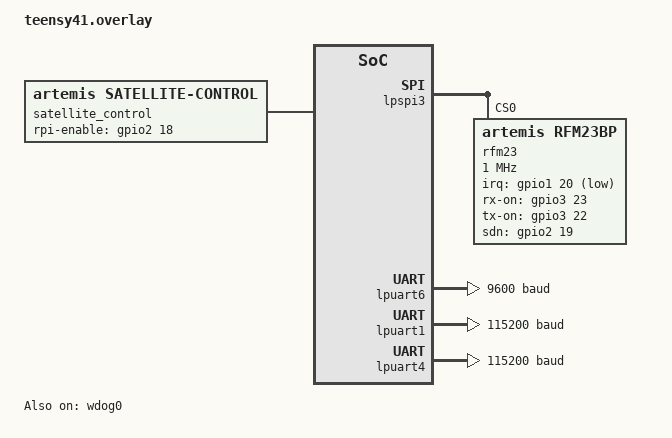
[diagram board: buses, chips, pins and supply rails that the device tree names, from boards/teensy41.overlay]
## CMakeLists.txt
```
cmake_minimum_required(VERSION 3.24.2)
find_package(Zephyr REQUIRED HINTS $ENV{ZEPHYR_BASE})
project(satellite_teensy41_controller C CXX)

target_include_directories(app PRIVATE include ../include)
target_sources(app PRIVATE
    src/main.cpp
    src/ControllerApp.cpp
    src/ControllerStorage.cpp
    src/Rfm23Zephyr.cpp
    src/ZephyrAdapters.cpp
    src/ZephyrUart.cpp
    src/ZephyrWatchdog.cpp
    ../src/LocalServices.cpp
    ../src/Protocol.cpp
    ../src/RuntimeBridge.cpp
    ../src/RadioStateMachine.cpp
)
```

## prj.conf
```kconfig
CONFIG_CPP=y
CONFIG_STD_CPP17=y
CONFIG_CPP_EXCEPTIONS=n
CONFIG_CPP_RTTI=n
CONFIG_REQUIRES_FULL_LIBCPP=y
CONFIG_GLIBCXX_LIBCPP=y
CONFIG_ASSERT=y

CONFIG_GPIO=y
CONFIG_SPI=y
CONFIG_SERIAL=y
CONFIG_UART_INTERRUPT_DRIVEN=y
CONFIG_PINCTRL=y
CONFIG_RING_BUFFER=y
CONFIG_WATCHDOG=y
CONFIG_HWINFO=y
CONFIG_REBOOT=y
CONFIG_FILE_SYSTEM=y

# Static thread stacks/queues only. The final F' topology must size these from
# its actual thread count and map output; nominal controller logic does not
# allocate from the heap after startup.
CONFIG_DYNAMIC_THREAD=y
CONFIG_DYNAMIC_THREAD_ALLOC=n
CONFIG_DYNAMIC_THREAD_PREFER_POOL=y
CONFIG_DYNAMIC_THREAD_STACK_SIZE=4096
CONFIG_DYNAMIC_THREAD_POOL_SIZE=6
CONFIG_MAIN_STACK_SIZE=4096
CONFIG_THREAD_STACK_INFO=y
CONFIG_KERNEL_MEM_POOL=y
CONFIG_COMMON_LIBC_MALLOC=y
CONFIG_NEWLIB_LIBC=y

CONFIG_BUILD_OUTPUT_HEX=y
CONFIG_SIZE_OPTIMIZATIONS=y
```

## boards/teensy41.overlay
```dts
/*
 * Satellite Teensy 4.1 wiring. Pin mappings are the Zephyr Teensy LPSPI3
 * pinctrl mapping plus the RT1062 GPIO pads used by the Arduino oracle.
 */
&lpspi3 {
    status = "okay";

    rfm23: rfm23@0 {
        compatible = "artemis,rfm23bp";
        reg = <0>;
        spi-max-frequency = <1000000>;
        irq-gpios = <&gpio1 20 GPIO_ACTIVE_LOW>; /* Teensy pin 40 */
        rx-on-gpios = <&gpio3 23 GPIO_ACTIVE_HIGH>; /* pin 30 */
        tx-on-gpios = <&gpio3 22 GPIO_ACTIVE_HIGH>; /* pin 31 */
        sdn-gpios = <&gpio2 19 GPIO_ACTIVE_HIGH>; /* pin 37 */
    };
};

&lpuart6 {
    status = "okay";
    current-speed = <9600>; /* PDU Serial1, Teensy pins 0/1 */
};

&lpuart1 {
    status = "okay";
    current-speed = <115200>; /* dedicated Zephyr debug console */
};

&lpuart4 {
    status = "okay";
    current-speed = <115200>; /* Pi Serial2, Teensy pins 7/8 */
};

&wdog0 {
    status = "okay"; /* RT1062 WDOG1, matching the Arduino 12 s reset contract */
};

/ {
    chosen {
        /* RT1062 OCRAM2 is the supported 512 KiB general SRAM region in the
         * current board model. DTCM and ITCM remain separate 128 KiB regions;
         * they are not falsely modeled as one contiguous 1 MiB heap. */
        zephyr,sram = &ocram2;
        zephyr,dtcm = &dtcm;
        zephyr,itcm = &itcm;
        zephyr,console = &lpuart1;
        zephyr,shell-uart = &lpuart1;
    };

    satellite_control {
        compatible = "artemis,satellite-control";
        rpi-enable-gpios = <&gpio2 18 GPIO_ACTIVE_HIGH>; /* pin 36 */
    };
};
```

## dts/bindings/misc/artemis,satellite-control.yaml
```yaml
description: Artemis satellite controller board-level control pins
compatible: "artemis,satellite-control"
properties:
  rpi-enable-gpios:
    type: phandle-array
    required: true
```

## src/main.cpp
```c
#include "SatelliteController/ControllerApp.hpp"

#include <zephyr/kernel.h>
#include <zephyr/sys/printk.h>

int main() {
    if (!SatelliteController::controllerAppInitialize()) {
        printk("satellite controller initialization failed; radio remains safe-off\n");
    }
    while (true) {
        SatelliteController::controllerAppPoll(k_uptime_get_32());
        k_sleep(K_MSEC(1));
    }
    return 0;
}
```

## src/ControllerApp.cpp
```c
#include "SatelliteController/ControllerApp.hpp"

#include <zephyr/devicetree.h>
#include <zephyr/drivers/gpio.h>
#include <zephyr/sys/printk.h>

namespace SatelliteController {
namespace {
const gpio_dt_spec RPI_ENABLE = GPIO_DT_SPEC_GET(DT_PATH(satellite_control), rpi_enable_gpios);
}

ControllerApp::ControllerApp()
    : m_radio(),
      m_piUart(DEVICE_DT_GET(DT_NODELABEL(lpuart4)), controllerPiRxStorage(), controllerPiRxStorageSize()),
      m_pduUart(DEVICE_DT_GET(DT_NODELABEL(lpuart6)), controllerPduRxStorage(), controllerPduRxStorageSize()),
      m_pduTransport(m_pduUart),
      m_rfStatus(m_radio),
      m_pduProxy(m_pduTransport),
      m_payloadCache(),
      m_preview(),
      m_localRouter(m_rfStatus, m_pduProxy, m_payloadCache, m_preview),
      m_bridge(RuntimeBridge::Callbacks{this, uartWrite, rfSend, localHandler, rfMessageHandler,
                                        rfCompletionHandler, clockNow}),
      m_watchdog() {}

bool ControllerApp::initialize() {
    if (m_initialized) return true;
    const auto safeOff = m_radio.configureSafeOff();
    const bool rpiReady = gpio_is_ready_dt(&RPI_ENABLE) &&
                          gpio_pin_configure_dt(&RPI_ENABLE, GPIO_OUTPUT_ACTIVE) == 0;
    const bool piUartReady = m_piUart.initialize();
    const bool pduUartReady = m_pduUart.initialize();
    const bool watchdogReady = m_watchdog.initialize(WatchdogModel::TIMEOUT_MS);
    m_rfStatus.setBootWatchdogReset(m_watchdog.watchdogReset());
    m_bridge.setRfEnabled(false);
    m_initialized = safeOff == Rfm23Zephyr::Result::OK && rpiReady && piUartReady &&
                    pduUartReady && watchdogReady;
    printk("satellite controller safe-off=%d rpi=%d pi-uart=%d pdu-uart=%d wdt=%d reset-wdt=%d\n",
           static_cast<int>(safeOff), rpiReady, piUartReady, pduUartReady,
           watchdogReady, m_watchdog.watchdogReset());
    return m_initialized;
}

bool ControllerApp::uartWrite(void* context, const std::uint8_t* bytes, std::size_t length) {
    auto* self = static_cast<ControllerApp*>(context);
    return self != nullptr && self->m_piUart.write(bytes, length);
}

bool ControllerApp::rfSend(void* context, const std::uint8_t* bytes, std::size_t length) {
    auto* self = static_cast<ControllerApp*>(context);
    const bool canonicalAck = length == Protocol::RF_SEGMENT_HEADER_LEN &&
                              bytes != nullptr && bytes[2] == Protocol::RF_ACK_INDEX &&
                              bytes[4] == 0;
    if (self == nullptr || !self->m_radio.ready()) {
        if (self != nullptr && !canonicalAck) self->m_rfStatus.noteTransmitResult(false);
        return false;
    }
    Rfm23Zephyr::Result result = self->m_radio.sendPacket(bytes, length);
    // Match the Arduino bridge: retry exactly once only after the low-level
    // timeout path has cleared both FIFOs and restored RX. Start failures are
    // terminal because no completed recovery is known to have occurred.
    if (result == Rfm23Zephyr::Result::TX_TIMEOUT) {
        (void)self->m_watchdog.feed();
        result = self->m_radio.sendPacket(bytes, length);
    }
    if (result != Rfm23Zephyr::Result::OK) self->m_radio.failSafeOffLocalTx();
    if (!canonicalAck) self->m_rfStatus.noteTransmitResult(result == Rfm23Zephyr::Result::OK);
    return result == Rfm23Zephyr::Result::OK;
}

bool ControllerApp::localHandler(void* context, const Frame& request, Frame& response) {
    auto* self = static_cast<ControllerApp*>(context);
    return self != nullptr && self->routeLocal(request, response, self->m_callbackNowMs);
}

bool ControllerApp::rfMessageHandler(void* context, const Frame& message) {
    auto* self = static_cast<ControllerApp*>(context);
    return self != nullptr && message.channel == Protocol::CHANNEL_PAYLOAD &&
           self->m_payloadCache.handlePayloadControl(message.payload.data(), message.length);
}

void ControllerApp::rfCompletionHandler(void* context, RuntimeBridge::TxTag tag, bool sent) {
    auto* self = static_cast<ControllerApp*>(context);
    if (self == nullptr) return;
    if (tag == RuntimeBridge::TxTag::PAYLOAD_CACHE) self->m_payloadCache.payloadPacketSent(sent);
    else if (tag == RuntimeBridge::TxTag::PREVIEW) self->m_preview.previewPacketAttempted(sent);
}

std::uint32_t ControllerApp::clockNow(void*) { return k_uptime_get_32(); }

bool ControllerApp::routeLocal(const Frame& request, Frame& response, std::uint32_t nowMs) {
    if (!m_localRouter.beginLocalFrame(request.payload.data(), request.length, nowMs)) return false;
    std::size_t length = 0;
    if (!m_localRouter.pollLocalResponse(nowMs, response.payload.data(), response.payload.size(), length)) return false;
    response.channel = Protocol::CHANNEL_LOCAL;
    response.length = static_cast<std::uint16_t>(length);
    return length != 0;
}

void ControllerApp::drainPiUart(std::uint32_t nowMs) {
    std::uint8_t byte = 0;
    m_callbackNowMs = nowMs;
    while (m_piUart.readByte(byte)) {
        if (m_bridge.ingestUartByte(byte, nowMs) == ParseResult::FRAME) ++m_uartFramesReceived;
        // A completed channel-2 request can change radio readiness. Apply it
        // before the next framed channel in the same UART burst is routed.
        syncRadioState();
    }
}

void ControllerApp::serviceRadio(std::uint32_t nowMs) {
    // serviceInterrupt owns the atomic consume; checking irqPending here would
    // clear the work signal before the driver can read the status registers.
    (void)m_radio.serviceInterrupt();
    std::uint8_t packet[Protocol::RF_PACKET_MAX_LEN]{};
    std::size_t length = 0;
    while (m_radio.available()) {
        if (m_radio.receivePacket(packet, sizeof(packet), length) != Rfm23Zephyr::Result::OK) break;
        const Rfm23Zephyr::Header& header = m_radio.lastReceivedHeader();
        switch (classifyRfHeader(header.to, header.from, header.id, header.flags)) {
            case RfHeaderStatus::ACCEPT:
                m_radio.markLastPacketAccepted();
                if (m_bridge.ingestRfPacket(packet, length, nowMs) != RuntimeBridge::RfResult::ACK) {
                    m_rfStatus.noteAcceptedPacket();
                }
                break;
            case RfHeaderStatus::WRONG_NETWORK: ++m_wrongNetworkDrops; break;
            case RfHeaderStatus::WRONG_ADDRESS: ++m_wrongAddressDrops; break;
            case RfHeaderStatus::WRONG_VERSION: ++m_wrongVersionDrops; break;
        }
    }
}

void ControllerApp::serviceLocalResponses(std::uint32_t nowMs) {
    std::uint8_t response[Protocol::FRAME_MAX_PAYLOAD]{};
    std::size_t length = 0;
    if (m_localRouter.pollLocalResponse(nowMs, response, sizeof(response), length)) {
        (void)m_bridge.queueLocalResponse(response, length);
    }
}

void ControllerApp::serviceGeneratedPayload() {
    if (!m_radio.ready() || m_bridge.pendingRfMessages() != 0) return;
    std::uint8_t payload[Protocol::FRAME_MAX_PAYLOAD]{};
    std::size_t length = 0;
    if (m_payloadCache.nextPayloadPacket(payload, sizeof(payload), length)) {
        const bool queued = m_bridge.queueRfMessage(Protocol::CHANNEL_PAYLOAD, payload, length,
                                                     RuntimeBridge::TxTag::PAYLOAD_CACHE);
        if (!queued) m_payloadCache.payloadPacketSent(false);
        return;
    }
    if (m_preview.nextPreviewPacket(payload, Protocol::RF_SEGMENT_MAX_DATA, length)) {
        const bool queued = m_bridge.queueRfMessage(Protocol::CHANNEL_PAYLOAD, payload, length,
                                                     RuntimeBridge::TxTag::PREVIEW);
        if (!queued) m_preview.previewPacketAttempted(false);
    }
}

void ControllerApp::syncRadioState() {
    const bool ready = m_radio.ready();
    if (m_radioWasReady && !ready) {
        // Arduino counts every queued uplink discarded by a radio-off
        // transition as a TX drop. Completion callbacks still unwind any
        // cache/preview producer state inside discardRadioWork().
        m_rfStatus.noteTransmitDrops(m_bridge.pendingRfMessages());
        m_bridge.discardRadioWork();
    }
    m_radioWasReady = ready;
    m_bridge.setRfEnabled(ready);
}

void ControllerApp::poll(std::uint32_t nowMs) {
    if (!m_initialized) return;
    (void)m_watchdog.feed();
    syncRadioState();
    drainPiUart(nowMs);
    serviceRadio(nowMs);
    syncRadioState();
    serviceLocalResponses(nowMs);
    serviceGeneratedPayload();
    m_bridge.poll(k_uptime_get_32(), !m_radio.receiveInProgress());
    syncRadioState();
}

bool controllerAppInitialize() { return controllerApp().initialize(); }
void controllerAppPoll(std::uint32_t nowMs) { controllerApp().poll(nowMs); }

}  // namespace SatelliteController
```

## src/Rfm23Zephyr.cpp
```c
#include "SatelliteController/Rfm23Zephyr.hpp"

namespace SatelliteController {

namespace {
constexpr std::uint8_t DEVICE_TYPE = 0x00;
constexpr std::uint8_t DEVICE_STATUS = 0x02;
constexpr std::uint8_t IRQ_STATUS_1 = 0x03;
constexpr std::uint8_t IRQ_STATUS_2 = 0x04;
constexpr std::uint8_t IRQ_ENABLE_1 = 0x05;
constexpr std::uint8_t IRQ_ENABLE_2 = 0x06;
constexpr std::uint8_t MODE_1 = 0x07;
constexpr std::uint8_t MODE_2 = 0x08;
constexpr std::uint8_t GPIO_0 = 0x0B;
constexpr std::uint8_t GPIO_1 = 0x0C;
constexpr std::uint8_t RSSI = 0x26;
constexpr std::uint8_t AFC_LIMITER = 0x2A;
constexpr std::uint8_t DATA_ACCESS = 0x30;
constexpr std::uint8_t HEADER_CONTROL_1 = 0x32;
constexpr std::uint8_t HEADER_CONTROL_2 = 0x33;
constexpr std::uint8_t PREAMBLE_LENGTH = 0x34;
constexpr std::uint8_t SYNC_1 = 0x36;
constexpr std::uint8_t SYNC_0 = 0x37;
constexpr std::uint8_t TX_HEADER_3 = 0x3A;
constexpr std::uint8_t TX_HEADER_2 = 0x3B;
constexpr std::uint8_t TX_HEADER_1 = 0x3C;
constexpr std::uint8_t TX_HEADER_0 = 0x3D;
constexpr std::uint8_t PACKET_LENGTH = 0x3E;
constexpr std::uint8_t CHECK_HEADER_3 = 0x3F;
constexpr std::uint8_t HEADER_ENABLE_3 = 0x43;
constexpr std::uint8_t RX_HEADER_3 = 0x47;
constexpr std::uint8_t RX_HEADER_2 = 0x48;
constexpr std::uint8_t RX_HEADER_1 = 0x49;
constexpr std::uint8_t RX_HEADER_0 = 0x4A;
constexpr std::uint8_t RX_PACKET_LENGTH = 0x4B;
constexpr std::uint8_t TX_POWER = 0x6D;
constexpr std::uint8_t TX_RATE_1 = 0x6E;
constexpr std::uint8_t CHARGE_PUMP = 0x58;
constexpr std::uint8_t FREQ_OFFSET_1 = 0x73;
constexpr std::uint8_t FREQ_OFFSET_2 = 0x74;
constexpr std::uint8_t FREQ_BAND = 0x75;
constexpr std::uint8_t FREQ_CARRIER_1 = 0x76;
constexpr std::uint8_t FREQ_CARRIER_0 = 0x77;
constexpr std::uint8_t TX_FIFO_THRESHOLD = 0x7D;
constexpr std::uint8_t RX_FIFO_THRESHOLD = 0x7E;
constexpr std::uint8_t FIFO = 0x7F;

constexpr std::uint8_t SW_RESET = 0x80;
constexpr std::uint8_t XTON = 0x01;
constexpr std::uint8_t RXON = 0x04;
constexpr std::uint8_t TXON = 0x08;
constexpr std::uint8_t CLEAR_RX = 0x02;
constexpr std::uint8_t CLEAR_TX = 0x01;
constexpr std::uint8_t CHIP_READY = 0x02;
constexpr std::uint8_t FIFO_ERROR = 0x80;
constexpr std::uint8_t PACKET_SENT = 0x04;
constexpr std::uint8_t PACKET_VALID = 0x02;
constexpr std::uint8_t CRC_ERROR = 0x01;
constexpr std::uint8_t PREAMBLE_VALID = 0x40;
constexpr std::uint8_t FREQUENCY_ERROR = 0x08;

constexpr std::uint8_t DEV_TX = 0x07;
constexpr std::uint8_t DEV_RX_TRX = 0x08;
constexpr std::uint32_t INIT_TIMEOUT_MS = 100;
constexpr std::uint32_t TX_TIMEOUT_MS = 500;
constexpr std::uint32_t PREAMBLE_GUARD_MS = 6;

constexpr std::uint8_t RF_NETWORK = 0xC3;
constexpr std::uint8_t RF_LOCAL = 0xA2;
constexpr std::uint8_t RF_REMOTE = 0xA1;
constexpr std::uint8_t RF_VERSION = 0x01;

constexpr std::uint8_t MODE_IDLE = 0;
constexpr std::uint8_t MODE_RX = 1;
constexpr std::uint8_t MODE_TX = 2;

constexpr std::uint8_t CLOCK_RECOVERY[] = {0x60, 0x01, 0x55, 0x55, 0x02, 0xAD};
constexpr std::uint8_t OOK[] = {0x40, 0x0A, 0x50};
constexpr std::uint8_t TX_RATE[] = {0x20, 0x00, 0x0C, 0x23, 0xC8};
}  // namespace

Rfm23Zephyr* Rfm23Zephyr::s_instance = nullptr;

Rfm23Zephyr::Rfm23Zephyr()
    : m_spi(SPI_DT_SPEC_GET(DT_NODELABEL(rfm23), SPI_WORD_SET(8) | SPI_TRANSFER_MSB)),
      m_irq(GPIO_DT_SPEC_GET(DT_NODELABEL(rfm23), irq_gpios)),
      m_rxOn(GPIO_DT_SPEC_GET(DT_NODELABEL(rfm23), rx_on_gpios)),
      m_txOn(GPIO_DT_SPEC_GET(DT_NODELABEL(rfm23), tx_on_gpios)),
      m_sdn(GPIO_DT_SPEC_GET(DT_NODELABEL(rfm23), sdn_gpios)) {
    s_instance = this;
}

void Rfm23Zephyr::amplifierIdle() {
    (void)gpio_pin_set_dt(&m_rxOn, 0);
    (void)gpio_pin_set_dt(&m_txOn, 0);
}

void Rfm23Zephyr::amplifierReceive() {
    (void)gpio_pin_set_dt(&m_rxOn, 0);
    (void)gpio_pin_set_dt(&m_txOn, 1);
    k_busy_wait(300);
}

void Rfm23Zephyr::amplifierTransmit() {
    (void)gpio_pin_set_dt(&m_rxOn, 1);
    (void)gpio_pin_set_dt(&m_txOn, 0);
    k_busy_wait(300);
}

Rfm23Zephyr::Result Rfm23Zephyr::configureSafeOff() {
    if (!spi_is_ready_dt(&m_spi) || !gpio_is_ready_dt(&m_irq) || !gpio_is_ready_dt(&m_rxOn) ||
        !gpio_is_ready_dt(&m_txOn) || !gpio_is_ready_dt(&m_sdn)) {
        return Result::NOT_READY;
    }
    if (gpio_pin_configure_dt(&m_rxOn, GPIO_OUTPUT_INACTIVE) != 0 ||
        gpio_pin_configure_dt(&m_txOn, GPIO_OUTPUT_INACTIVE) != 0 ||
        gpio_pin_configure_dt(&m_sdn, GPIO_OUTPUT_ACTIVE) != 0 ||
        gpio_pin_configure_dt(&m_irq, GPIO_INPUT) != 0) {
        return Result::IO_ERROR;
    }
    amplifierIdle();
    (void)gpio_pin_set_dt(&m_sdn, 1);
    m_ready = false;
    m_mode = MODE_IDLE;
    m_rxReady = false;
    m_txComplete = false;
    m_rssiValid = false;
    m_lastPreambleMs = 0;
    m_lastAcceptedRssiMs = 0;
    m_pendingRssiDbm = 0;
    m_lastRssiDbm = 0;
    m_fault = Fault::NONE;
    atomic_set(&m_irqPending, 0);
    if (!m_callbackRegistered) {
        k_work_init(&m_irqWork, irqWork);
        gpio_init_callback(&m_irqCallback, irqCallback, BIT(m_irq.pin));
        if (gpio_add_callback(m_irq.port, &m_irqCallback) != 0) return Result::IO_ERROR;
        m_callbackRegistered = true;
    }
    (void)gpio_pin_interrupt_configure_dt(&m_irq, GPIO_INT_DISABLE);
    return Result::OK;
}

Rfm23Zephyr::Result Rfm23Zephyr::readRegister(std::uint8_t address, std::uint8_t& value) {
    std::uint8_t tx[2] = {static_cast<std::uint8_t>(address & 0x7FU), 0};
    std::uint8_t rx[2] = {};
    const spi_buf txBuf{tx, sizeof(tx)};
    const spi_buf rxBuf{rx, sizeof(rx)};
    const spi_buf_set txSet{&txBuf, 1};
    const spi_buf_set rxSet{&rxBuf, 1};
    if (spi_transceive_dt(&m_spi, &txSet, &rxSet) != 0) return Result::IO_ERROR;
    value = rx[1];
    return Result::OK;
}

Rfm23Zephyr::Result Rfm23Zephyr::writeRegister(std::uint8_t address, std::uint8_t value) {
    std::uint8_t tx[2] = {static_cast<std::uint8_t>(address | 0x80U), value};
    const spi_buf txBuf{tx, sizeof(tx)};
    const spi_buf_set txSet{&txBuf, 1};
    return spi_write_dt(&m_spi, &txSet) == 0 ? Result::OK : Result::IO_ERROR;
}

Rfm23Zephyr::Result Rfm23Zephyr::readBurst(std::uint8_t address, std::uint8_t* values,
                                           std::size_t length) {
    if (values == nullptr || length == 0 || length > MAX_PACKET_LENGTH + 2) return Result::INVALID_ARGUMENT;
    std::uint8_t tx[MAX_PACKET_LENGTH + 3] = {};
    std::uint8_t rx[MAX_PACKET_LENGTH + 3] = {};
    tx[0] = static_cast<std::uint8_t>(address & 0x7FU);
    const spi_buf txBuf{tx, length + 1};
    const spi_buf rxBuf{rx, length + 1};
    const spi_buf_set txSet{&txBuf, 1};
    const spi_buf_set rxSet{&rxBuf, 1};
    if (spi_transceive_dt(&m_spi, &txSet, &rxSet) != 0) return Result::IO_ERROR;
    for (std::size_t i = 0; i < length; ++i) values[i] = rx[i + 1];
    return Result::OK;
}

Rfm23Zephyr::Result Rfm23Zephyr::writeBurst(std::uint8_t address, const std::uint8_t* values,
                                            std::size_t length) {
    if (values == nullptr || length == 0 || length > MAX_PACKET_LENGTH + 2) return Result::INVALID_ARGUMENT;
    std::uint8_t tx[MAX_PACKET_LENGTH + 3] = {};
    tx[0] = static_cast<std::uint8_t>(address | 0x80U);
    for (std::size_t i = 0; i < length; ++i) tx[i + 1] = values[i];
    const spi_buf txBuf{tx, length + 1};
    const spi_buf_set txSet{&txBuf, 1};
    return spi_write_dt(&m_spi, &txSet) == 0 ? Result::OK : Result::IO_ERROR;
}

Rfm23Zephyr::Result Rfm23Zephyr::enterIdleMode() {
    const Result result = writeRegister(MODE_1, XTON);
    if (result == Result::OK) m_mode = MODE_IDLE;
    return result;
}

Rfm23Zephyr::Result Rfm23Zephyr::enterReceiveMode() {
    amplifierReceive();
    const Result result = writeRegister(MODE_1, XTON | RXON);
    if (result == Result::OK) m_mode = MODE_RX;
    return result;
}

Rfm23Zephyr::Result Rfm23Zephyr::clearFifosAndEnterRx() {
    if (enterIdleMode() != Result::OK) return Result::IO_ERROR;
    std::uint8_t mode2 = 0;
    if (readRegister(MODE_2, mode2) != Result::OK ||
        writeRegister(MODE_2, static_cast<std::uint8_t>(mode2 | CLEAR_RX | CLEAR_TX)) != Result::OK ||
        writeRegister(MODE_2, mode2) != Result::OK) return Result::IO_ERROR;
    std::uint8_t ignored = 0;
    if (readRegister(IRQ_STATUS_1, ignored) != Result::OK || readRegister(IRQ_STATUS_2, ignored) != Result::OK) {
        return Result::IO_ERROR;
    }
    m_rxReady = false;
    m_rxLength = 0;
    m_txComplete = false;
    return enterReceiveMode();
}

Rfm23Zephyr::Result Rfm23Zephyr::recoverTransmitPath() {
    return clearFifosAndEnterRx();
}

Rfm23Zephyr::Result Rfm23Zephyr::configureModem() {
    if (writeRegister(0x1C, 0x8A) != Result::OK || writeRegister(0x1F, 0x03) != Result::OK ||
        writeBurst(0x20, CLOCK_RECOVERY, sizeof(CLOCK_RECOVERY)) != Result::OK ||
        writeBurst(0x2C, OOK, sizeof(OOK)) != Result::OK ||
        writeRegister(CHARGE_PUMP, 0xC0) != Result::OK || writeRegister(0x69, 0x60) != Result::OK ||
        writeBurst(TX_RATE_1, TX_RATE, sizeof(TX_RATE)) != Result::OK ||
        writeRegister(FREQ_OFFSET_1, 0) != Result::OK || writeRegister(FREQ_OFFSET_2, 0) != Result::OK ||
        // RadioHead setFrequency(424.0): 0x52 selects the 420 MHz band and
        // fractional carrier 0x6400 adds 4 MHz (4 / 0.00015625).
        writeRegister(FREQ_BAND, 0x52) != Result::OK || writeRegister(FREQ_CARRIER_1, 0x64) != Result::OK ||
        writeRegister(FREQ_CARRIER_0, 0) != Result::OK || writeRegister(AFC_LIMITER, 0x50) != Result::OK ||
        writeRegister(TX_POWER, 0x0F) != Result::OK) {
        return Result::IO_ERROR;
    }
    std::uint8_t status = 0;
    if (readRegister(DEVICE_STATUS, status) != Result::OK || (status & FREQUENCY_ERROR) != 0U) {
        return Result::IO_ERROR;
    }
    return Result::OK;
}

Rfm23Zephyr::Result Rfm23Zephyr::failSafe(Result result) {
    (void)gpio_pin_interrupt_configure_dt(&m_irq, GPIO_INT_DISABLE);
    amplifierIdle();
    (void)gpio_pin_set_dt(&m_sdn, 1);
    m_ready = false;
    m_mode = MODE_IDLE;
    m_rxReady = false;
    m_txComplete = false;
    m_rssiValid = false;
    m_lastPreambleMs = 0;
    m_lastAcceptedRssiMs = 0;
    m_pendingRssiDbm = 0;
    m_lastRssiDbm = 0;
    atomic_set(&m_irqPending, 0);
    if (result == Result::TX_TIMEOUT) m_fault = Fault::LOCAL_TX;
    else if (result == Result::IO_ERROR || result == Result::INIT_TIMEOUT) m_fault = Fault::INIT_FAILED;
    return result;
}

Rfm23Zephyr::Result Rfm23Zephyr::probeAndInitialize() {
    (void)gpio_pin_interrupt_configure_dt(&m_irq, GPIO_INT_DISABLE);
    (void)gpio_pin_set_dt(&m_sdn, 1);
    amplifierIdle();
    k_msleep(50);
    (void)gpio_pin_set_dt(&m_sdn, 0);
    k_msleep(50);
    std::uint8_t first = 0;
    std::uint8_t second = 0;
    if (readRegister(DEVICE_TYPE, first) != Result::OK) return failSafe(Result::IO_ERROR);
    k_msleep(1);
    if (readRegister(DEVICE_TYPE, second) != Result::OK || first != second ||
        (first != DEV_TX && first != DEV_RX_TRX)) return failSafe(Result::IO_ERROR);
    if (writeRegister(MODE_1, SW_RESET) != Result::OK) return failSafe(Result::IO_ERROR);
    const std::uint32_t deadline = k_uptime_get_32() + INIT_TIMEOUT_MS;
    std::uint8_t irq2 = 0;
    while ((irq2 & CHIP_READY) == 0U) {
        if (static_cast<std::int32_t>(k_uptime_get_32() - deadline) >= 0) {
            return failSafe(Result::INIT_TIMEOUT);
        }
        if (readRegister(IRQ_STATUS_2, irq2) != Result::OK) return failSafe(Result::IO_ERROR);
        k_msleep(1);
    }
    // Exact RFM22-compatible packet setup followed by the Artemis RFM23BP profile.
    if (writeRegister(IRQ_ENABLE_1, 0xB7) != Result::OK || writeRegister(IRQ_ENABLE_2, 0x40) != Result::OK ||
        writeRegister(TX_FIFO_THRESHOLD, 4) != Result::OK || writeRegister(RX_FIFO_THRESHOLD, 55) != Result::OK ||
        writeRegister(DATA_ACCESS, 0x8D) != Result::OK || writeRegister(HEADER_CONTROL_1, 0x88) != Result::OK ||
        writeRegister(HEADER_CONTROL_2, 0x42) != Result::OK || writeRegister(PREAMBLE_LENGTH, 8) != Result::OK ||
        writeRegister(SYNC_1, 0x2D) != Result::OK || writeRegister(SYNC_0, 0xD4) != Result::OK ||
        writeRegister(HEADER_ENABLE_3, 0x00) != Result::OK || writeRegister(CHECK_HEADER_3, RF_LOCAL) != Result::OK ||
        writeRegister(TX_HEADER_3, RF_REMOTE) != Result::OK || writeRegister(TX_HEADER_2, RF_LOCAL) != Result::OK ||
        writeRegister(TX_HEADER_1, RF_NETWORK) != Result::OK || writeRegister(TX_HEADER_0, RF_VERSION) != Result::OK ||
        writeRegister(GPIO_0, 0x12) != Result::OK || writeRegister(GPIO_1, 0x15) != Result::OK ||
        configureModem() != Result::OK || clearFifosAndEnterRx() != Result::OK) {
        return failSafe(Result::IO_ERROR);
    }
    if (gpio_pin_interrupt_configure_dt(&m_irq, GPIO_INT_EDGE_TO_ACTIVE) != 0) return failSafe(Result::IO_ERROR);
    m_ready = true;
    m_fault = Fault::NONE;
    return Result::OK;
}

Rfm23Zephyr::Result Rfm23Zephyr::setEnabled(bool enabled) {
    if (!enabled) {
        m_fault = Fault::NONE;
        return failSafe(Result::OK);
    }
    if (m_ready && m_fault == Fault::NONE) return Result::OK;
    ++m_initAttempts;
    return probeAndInitialize();
}

Rfm23Zephyr::Result Rfm23Zephyr::processInterrupts(bool force) {
    if (!m_ready && m_mode != MODE_RX && m_mode != MODE_TX) return Result::NOT_READY;
    if (!force && !irqPending()) return Result::OK;
    std::uint8_t status1 = 0;
    std::uint8_t status2 = 0;
    if (readRegister(IRQ_STATUS_1, status1) != Result::OK || readRegister(IRQ_STATUS_2, status2) != Result::OK) {
        return failSafe(Result::IO_ERROR);
    }
    m_lastIrqStatus1 = status1;
    m_lastIrqStatus2 = status2;
    if ((status1 & FIFO_ERROR) != 0U) {
        ++m_rxBad;
        if (recoverTransmitPath() != Result::OK) return failSafe(Result::IO_ERROR);
    }
    if ((status1 & PACKET_SENT) != 0U) {
        m_txComplete = true;
        m_mode = MODE_IDLE;
        ++m_txGood;
    }
    if ((status1 & PACKET_VALID) != 0U) {
        std::uint8_t length = 0;
        if (readRegister(RX_PACKET_LENGTH, length) != Result::OK || length > MAX_PACKET_LENGTH ||
            readBurst(FIFO, m_rxPacket, length) != Result::OK || readRegister(RX_HEADER_3, m_lastReceivedHeader.to) != Result::OK ||
            readRegister(RX_HEADER_2, m_lastReceivedHeader.from) != Result::OK || readRegister(RX_HEADER_1, m_lastReceivedHeader.id) != Result::OK ||
            readRegister(RX_HEADER_0, m_lastReceivedHeader.flags) != Result::OK) {
            ++m_rxBad;
            return failSafe(Result::IO_ERROR);
        }
        m_rxLength = length;
        m_rxReady = true;
        ++m_rxGood;
        m_mode = MODE_IDLE;
    }
    if ((status1 & CRC_ERROR) != 0U) {
        ++m_rxBad;
        m_rxReady = false;
        m_rxLength = 0;
        if (recoverTransmitPath() != Result::OK) return failSafe(Result::IO_ERROR);
        return Result::OK;
    }
    if ((status2 & PREAMBLE_VALID) != 0U) {
        std::uint8_t rawRssi = 0;
        if (readRegister(RSSI, rawRssi) != Result::OK) return failSafe(Result::IO_ERROR);
        m_pendingRssiDbm = static_cast<std::int16_t>(-120 + rawRssi / 2);
        m_lastPreambleMs = k_uptime_get_32();
        std::uint8_t mode2 = 0;
        if (readRegister(MODE_2, mode2) != Result::OK ||
            writeRegister(MODE_2, static_cast<std::uint8_t>(mode2 | CLEAR_RX)) != Result::OK ||
            writeRegister(MODE_2, mode2) != Result::OK) return failSafe(Result::IO_ERROR);
        m_rxReady = false;
        m_rxLength = 0;
    }
    return Result::OK;
}

void Rfm23Zephyr::markLastPacketAccepted() {
    m_lastRssiDbm = m_pendingRssiDbm;
    m_lastAcceptedRssiMs = k_uptime_get_32();
    m_rssiValid = true;
}

std::uint32_t Rfm23Zephyr::lastAcceptedRssiAgeMs() const {
    return m_rssiValid ? k_uptime_get_32() - m_lastAcceptedRssiMs : 0xFFFFFFFFU;
}

Rfm23Zephyr::Result Rfm23Zephyr::serviceInterrupt() { return processInterrupts(false); }

bool Rfm23Zephyr::available() {
    if (!m_ready) return false;
    (void)processInterrupts(true);
    return m_rxReady;
}

bool Rfm23Zephyr::receiveInProgress() const {
    return m_ready && m_mode == MODE_RX && m_lastPreambleMs != 0U &&
           (k_uptime_get_32() - m_lastPreambleMs) < PREAMBLE_GUARD_MS;
}

Rfm23Zephyr::Result Rfm23Zephyr::receivePacket(std::uint8_t* data, std::size_t capacity, std::size_t& length) {
    length = 0;
    if (data == nullptr || capacity == 0) return Result::INVALID_ARGUMENT;
    if (!m_ready) return Result::NOT_READY;
    const Result irqResult = processInterrupts(true);
    if (irqResult != Result::OK) return irqResult;
    if (!m_rxReady) return Result::NO_PACKET;
    if (m_rxLength > capacity) {
        m_rxReady = false;
        m_rxLength = 0;
        return Result::INVALID_ARGUMENT;
    }
    for (std::size_t i = 0; i < m_rxLength; ++i) data[i] = m_rxPacket[i];
    length = m_rxLength;
    m_rxReady = false;
    m_rxLength = 0;
    return clearFifosAndEnterRx() == Result::OK ? Result::OK : failSafe(Result::IO_ERROR);
}

Rfm23Zephyr::Result Rfm23Zephyr::sendPacket(const std::uint8_t* data, std::size_t length) {
    if (data == nullptr || length == 0 || length > MAX_PACKET_LENGTH) return Result::INVALID_ARGUMENT;
    if (!m_ready) return Result::NOT_READY;
    if (m_mode == MODE_TX) {
        m_fault = Fault::LOCAL_TX;
        return recoverTransmitPath() == Result::OK ? Result::TX_TIMEOUT : failSafe(Result::TX_TIMEOUT);
    }
    if (enterIdleMode() != Result::OK) return failSafe(Result::IO_ERROR);
    m_rxReady = false;
    m_rxLength = 0;
    m_txComplete = false;
    amplifierTransmit();
    if (writeRegister(TX_HEADER_3, RF_REMOTE) != Result::OK || writeRegister(TX_HEADER_2, RF_LOCAL) != Result::OK ||
        writeRegister(TX_HEADER_1, RF_NETWORK) != Result::OK || writeRegister(TX_HEADER_0, RF_VERSION) != Result::OK ||
        writeRegister(PACKET_LENGTH, static_cast<std::uint8_t>(length)) != Result::OK || writeBurst(FIFO, data, length) != Result::OK ||
        writeRegister(MODE_1, XTON | TXON) != Result::OK) return failSafe(Result::IO_ERROR);
    m_mode = MODE_TX;
    const std::uint32_t deadline = k_uptime_get_32() + TX_TIMEOUT_MS;
    while (!m_txComplete) {
        const Result irqResult = processInterrupts(true);
        if (irqResult != Result::OK) return irqResult;
        if (m_txComplete) break;
        if (static_cast<std::int32_t>(k_uptime_get_32() - deadline) >= 0) {
            m_fault = Fault::LOCAL_TX;
            return recoverTransmitPath() == Result::OK ? Result::TX_TIMEOUT : failSafe(Result::TX_TIMEOUT);
        }
        k_msleep(1);
    }
    m_fault = Fault::NONE;
    return enterReceiveMode() == Result::OK ? Result::OK : failSafe(Result::IO_ERROR);
}

void Rfm23Zephyr::failSafeOffLocalTx() { (void)failSafe(Result::TX_TIMEOUT); }

void Rfm23Zephyr::irqCallback(const device*, gpio_callback*, gpio_port_pins_t) {
    if (s_instance != nullptr) (void)k_work_submit(&s_instance->m_irqWork);
}

void Rfm23Zephyr::irqWork(k_work*) {
    if (s_instance != nullptr) atomic_set(&s_instance->m_irqPending, 1);
}

bool Rfm23Zephyr::irqPending() { return atomic_cas(&m_irqPending, 1, 0); }

}  // namespace SatelliteController
```

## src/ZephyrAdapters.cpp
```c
#include "SatelliteController/ZephyrAdapters.hpp"

#include <limits>

namespace SatelliteController {

bool ZephyrRfStatusProvider::setEnabled(bool enabled) {
    m_bootFaultActive = false;
    return m_radio.setEnabled(enabled) == Rfm23Zephyr::Result::OK;
}

std::uint16_t ZephyrRfStatusProvider::narrowCounter(std::uint32_t value) {
    constexpr auto MAX = std::numeric_limits<std::uint16_t>::max();
    return value > MAX ? MAX : static_cast<std::uint16_t>(value);
}

RfStatusSnapshot ZephyrRfStatusProvider::status() const {
    RfStatusSnapshot snapshot{};
    snapshot.lastRssiDbm = m_radio.rssiValid() ? m_radio.lastRssiDbm() : -127;
    snapshot.rxGood = narrowCounter(m_radio.rxGood());
    snapshot.rxBad = narrowCounter(m_radio.rxBad());
    snapshot.txGood = narrowCounter(m_radio.txGood());
    snapshot.rfRxPackets = m_rxPackets;
    snapshot.rfTxPackets = m_txPackets;
    snapshot.rfTxDrops = m_txDrops;
    snapshot.state = m_radio.ready() ? RadioState::READY : RadioState::OFF;
    snapshot.fault = static_cast<RadioFault>(m_radio.fault());
    if (m_bootFaultActive) snapshot.fault = RadioFault::WATCHDOG_RESET;
    snapshot.bootFlags = m_watchdogReset ? 1U : 0U;
    snapshot.rssiValid = m_radio.rssiValid();
    snapshot.initAttempts = m_radio.initAttempts();
    snapshot.lastAcceptedRssiAgeMs = m_radio.lastAcceptedRssiAgeMs();
    return snapshot;
}

}  // namespace SatelliteController
```

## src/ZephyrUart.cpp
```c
#include "SatelliteController/ZephyrUart.hpp"

#include <zephyr/irq.h>

namespace SatelliteController {

ZephyrUart::ZephyrUart(const device* device, std::uint8_t* rxStorage, std::size_t rxCapacity)
    : m_device(device), m_rxStorage(rxStorage), m_rxCapacity(rxCapacity) {}

bool ZephyrUart::initialize() {
    if (m_device == nullptr || !device_is_ready(m_device) || m_rxStorage == nullptr || m_rxCapacity == 0) return false;
    ring_buf_init(&m_rxRing, static_cast<std::uint32_t>(m_rxCapacity), m_rxStorage);
    if (uart_irq_callback_user_data_set(m_device, irqCallback, this) != 0) return false;
    uart_irq_rx_enable(m_device);
    m_initialized = true;
    return true;
}

void ZephyrUart::irqCallback(const device*, void* context) {
    auto* self = static_cast<ZephyrUart*>(context);
    if (self != nullptr) self->drainRxIsr();
}

void ZephyrUart::drainRxIsr() {
    if (!uart_irq_update(m_device) || !uart_irq_rx_ready(m_device)) return;
    std::uint8_t scratch[32];
    while (uart_irq_rx_ready(m_device)) {
        const int received = uart_fifo_read(m_device, scratch, sizeof(scratch));
        if (received <= 0) break;
        const std::uint32_t accepted = ring_buf_put(&m_rxRing, scratch, static_cast<std::uint32_t>(received));
        m_droppedRxBytes += static_cast<std::uint32_t>(received) - accepted;
    }
}

bool ZephyrUart::readByte(std::uint8_t& value) {
    if (!m_initialized) return false;
    unsigned int key = irq_lock();
    const std::uint32_t read = ring_buf_get(&m_rxRing, &value, 1);
    irq_unlock(key);
    return read == 1;
}

bool ZephyrUart::write(const std::uint8_t* data, std::size_t length) {
    if (!m_initialized || (data == nullptr && length != 0)) return false;
    for (std::size_t i = 0; i < length; ++i) uart_poll_out(m_device, data[i]);
    return true;
}

void ZephyrUart::discardRx() {
    unsigned int key = irq_lock();
    ring_buf_reset(&m_rxRing);
    irq_unlock(key);
}

}  // namespace SatelliteController
```

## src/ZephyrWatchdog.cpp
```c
#include "SatelliteController/ZephyrWatchdog.hpp"

#include <zephyr/devicetree.h>
#include <zephyr/drivers/hwinfo.h>
#include <zephyr/drivers/watchdog.h>

namespace SatelliteController {

ZephyrWatchdog::ZephyrWatchdog() : m_device(DEVICE_DT_GET(DT_NODELABEL(wdog0))) {}

bool ZephyrWatchdog::initialize(std::uint32_t timeoutMs) {
    std::uint32_t resetCause = 0;
    if (hwinfo_get_reset_cause(&resetCause) == 0) {
        m_watchdogReset = (resetCause & RESET_WATCHDOG) != 0U;
        (void)hwinfo_clear_reset_cause();
    }
    if (m_device == nullptr || !device_is_ready(m_device)) return false;
    wdt_timeout_cfg config{};
    config.window.min = 0;
    config.window.max = timeoutMs;
    config.callback = nullptr;
    config.flags = WDT_FLAG_RESET_SOC;
    m_channel = wdt_install_timeout(m_device, &config);
    if (m_channel < 0) return false;
    return wdt_setup(m_device, 0) == 0;
}

bool ZephyrWatchdog::feed() {
    return m_channel >= 0 && wdt_feed(m_device, m_channel) == 0;
}

}  // namespace SatelliteController
```
